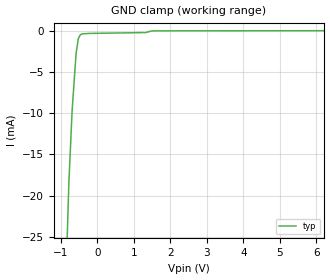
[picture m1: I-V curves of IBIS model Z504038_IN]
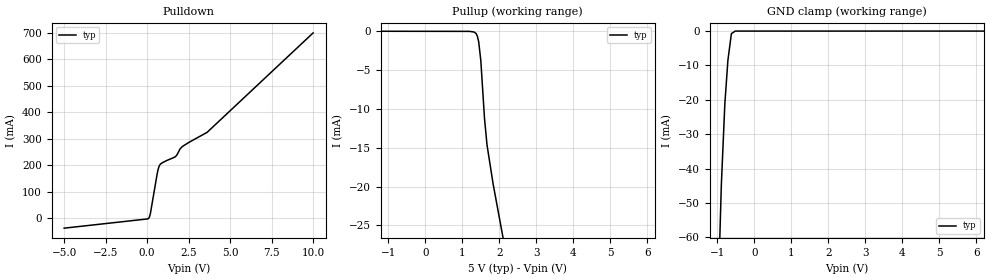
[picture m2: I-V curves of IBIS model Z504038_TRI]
| YOU ARE ONLY AUTHORIZED TO USE THIS SOFTWARE
| ACCORDING TO LICENSOR'S LICENSE RESTRICTIONS.
[IBIS Ver] 3.1
[File Name] mc74f823dw.ibs
[File Rev] 2.0
[Source] Measured and created by ICX Technology
[Date] Friday 7/14/00 9:08:05 AM
[Copyright]
| (C) COPYRIGHT 1993-2000
| MENTOR GRAPHICS CORPORATION
| ICX STANDARD LIBRARY, ICX PROJECT MODELING,
| ICX CUSTOM MODELING, ICX VENDOR MODEL
| ALL RIGHTS RESERVED.
| THE FOLLOWING ARE TRADEMARKS OR SERVICE MARKS OF
| MENTOR GRAPHICS CORPORATION:ICX (R), ICX STANDARD
| LIBRARY(R), ICX PROJECT MODELING(R), ICX CUSTOM
| MODELING(R), qualityIBIS(TM), MODELVIEWER(TM),
| AND MODELEDITOR(TM)
| ALL COPIES OF SOFTWARE, INCLUDING BUT NOT LIMITED TO
| ANY MODIFICATIONS, ENHANCEMENTS OR DERIVATIVE WORKS,
| MUST CONTAIN ALL MENTOR GRAPHICS CORPORATION'S
| NOTICES AND LEGENDS, INCLUDING THOSE EMBEDDED IN
| SOFTWARE AND THOSE AFFIXED TO SOFTWARE MEDIUM
| AND CONTAINER, AS RECEIVED FROM MENTOR GRAPHICS
| CORPORATION.
|  ZAP Model Builder 2.7
[Component] MC74F823DW
[Manufacturer] OnSemiconductor
[Package]
| variable   typ   min   max
R_pkg  .18ohms NA NA
L_pkg  4.67nH NA NA
C_pkg  .637pF NA NA
[Pin] signal_name  model_name  R_pin  L_pin C_pin
1 _EN Z504038_IN .19 5.862n .712p
2 D0 Z504038_IN .186 5.372n .682p
3 D1 Z504038_IN .182 4.892n .652p
4 D2 Z504038_IN .178 4.422n .622p
5 D3 Z504038_IN .174 3.962n .592p
6 D4 Z504038_IN .17 3.512n .562p
7 D5 Z504038_IN .17 3.512n .562p
8 D6 Z504038_IN .174 3.962n .592p
9 D7 Z504038_IN .178 4.422n .622p
10 D8 Z504038_IN .182 4.892n .652p
11 _CLR Z504038_IN .186 5.372n .682p
12 GND GND .19 5.862n .712p
13 CLK Z504038_IN .19 5.862n .712p
14 _CLKEN Z504038_IN .186 5.372n .682p
15 Q8 Z504038_TRI .182 4.892n .652p
16 Q7 Z504038_TRI .178 4.422n .622p
17 Q6 Z504038_TRI .174 3.962n .592p
18 Q5 Z504038_TRI .17 3.512n .562p
19 Q4 Z504038_TRI .17 3.512n .562p
20 Q3 Z504038_TRI .174 3.962n .592p
21 Q2 Z504038_TRI .178 4.422n .622p
22 Q1 Z504038_TRI .182 4.892n .652p
23 Q0 Z504038_TRI .186 5.372n .682p
24 VCC POWER .19 5.862n .712p
| Models and submodels in the file (2): Z504038_IN (Input), Z504038_TRI (3-state)
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| (C) COPYRIGHT 1993-2000
| MENTOR GRAPHICS CORPORATION
| ICX STANDARD LIBRARY, ICX PROJECT MODELING,
| ICX CUSTOM MODELING, ICX VENDOR MODEL
| ALL RIGHTS RESERVED.
| THE FOLLOWING ARE TRADEMARKS OR SERVICE MARKS OF
| MENTOR GRAPHICS CORPORATION:ICX (R), ICX STANDARD
| LIBRARY(R), ICX PROJECT MODELING(R), ICX CUSTOM
| MODELING(R), qualityIBIS(TM), MODELVIEWER(TM),
| AND MODELEDITOR(TM)
| ALL COPIES OF SOFTWARE, INCLUDING BUT NOT LIMITED TO
| ANY MODIFICATIONS, ENHANCEMENTS OR DERIVATIVE WORKS,
| MUST CONTAIN ALL MENTOR GRAPHICS CORPORATION'S
| NOTICES AND LEGENDS, INCLUDING THOSE EMBEDDED IN
| SOFTWARE AND THOSE AFFIXED TO SOFTWARE MEDIUM
| AND CONTAINER, AS RECEIVED FROM MENTOR GRAPHICS
| CORPORATION.
| Model Application Version 1.89 2/18/99.
[Model] Z504038_IN
Model_type Input
Vinl = 800.0mV
Vinh = 2.000V
C_comp 4.000pF NA NA
| variable typ   min   max
[Voltage Range] 5.000V NA NA
[GND Clamp Reference] 0.000V NA NA
[POWER Clamp Reference] 5.000V NA NA
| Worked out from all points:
|   GND clamp passes 1 mA (typ) near -0.52 V on its own axis
[GND Clamp]
-5V       -627.6mA   NA         NA
-781.1mV  -18.63mA   NA         NA
-690.8mV  -9.658mA   NA         NA
-581.1mV  -2.702mA   NA         NA
-521.9mV  -963uA     NA         NA
-462.5mV  -464.2uA   NA         NA
-405.2mV  -368.7uA   NA         NA
-202.6mV  -320.8uA   NA         NA
1.328V    -216.8uA   NA         NA
1.465V    -36.69uA   NA         NA
1.563V    -9.496uA   NA         NA
10V       24.15uA    NA         NA
[POWER Clamp]
-5V       0A         NA         NA
10V       0A         NA         NA
| (C) COPYRIGHT 1993-2000
| MENTOR GRAPHICS CORPORATION
| ICX STANDARD LIBRARY, ICX PROJECT MODELING,
| ICX CUSTOM MODELING, ICX VENDOR MODEL
| ALL RIGHTS RESERVED.
| THE FOLLOWING ARE TRADEMARKS OR SERVICE MARKS OF
| MENTOR GRAPHICS CORPORATION:ICX (R), ICX STANDARD
| LIBRARY(R), ICX PROJECT MODELING(R), ICX CUSTOM
| MODELING(R), qualityIBIS(TM), MODELVIEWER(TM),
| AND MODELEDITOR(TM)
| ALL COPIES OF SOFTWARE, INCLUDING BUT NOT LIMITED TO
| ANY MODIFICATIONS, ENHANCEMENTS OR DERIVATIVE WORKS,
| MUST CONTAIN ALL MENTOR GRAPHICS CORPORATION'S
| NOTICES AND LEGENDS, INCLUDING THOSE EMBEDDED IN
| SOFTWARE AND THOSE AFFIXED TO SOFTWARE MEDIUM
| AND CONTAINER, AS RECEIVED FROM MENTOR GRAPHICS
| CORPORATION.
| Model Application Version 1.89 2/18/99.
[Model] Z504038_TRI
Model_type 3-state
Vref=0.000V
Rref=500.0ohms
Cref=50.00pF
Vmeas=1.500V
C_comp 8.000pF NA NA
| variable typ   min   max
[Voltage Range] 5.000V NA NA
[POWER Clamp Reference] 5.000V NA NA
[Pullup Reference] 5.000V NA NA
[Pulldown Reference] 0.000V NA NA
[GND Clamp Reference] 0.000V NA NA
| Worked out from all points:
|   slope of the pulldown table from 0 to 0.75 V, typ, clamps not added: 3.7 ohm
|   GND clamp passes 1 mA (typ) near -0.62 V on its own axis
[GND Clamp]
-5V       -2.456A    NA         NA
-1.133V   -148.2mA   NA         NA
-1.016V   -91.3mA    NA         NA
-888.8mV  -44.49mA   NA         NA
-795.7mV  -21.25mA   NA         NA
-712.8mV  -8.535mA   NA         NA
-618.5mV  -759.7uA   NA         NA
-515.4mV  0A         NA         NA
10V       0A         NA         NA
[Pulldown]
-5V       -38.06mA   NA         NA
72.21mV   -2.215mA   NA         NA
129.3mV   2.631mA    NA         NA
193.4mV   16.32mA    NA         NA
605.7mV   167.8mA    NA         NA
664.9mV   184.8mA    NA         NA
730.1mV   197.6mA    NA         NA
805.7mV   204.4mA    NA         NA
1.712V    232.3mA    NA         NA
2.109V    269.8mA    NA         NA
3.612V    323.9mA    NA         NA
10V       699.7mA    NA         NA
[Pullup]
-5V       35.5uA     NA         NA
1.201V    -2.518uA   NA         NA
1.319V    -89.29uA   NA         NA
1.377V    -284.2uA   NA         NA
1.411V    -651.3uA   NA         NA
1.445V    -1.336mA   NA         NA
1.503V    -3.775mA   NA         NA
1.602V    -11.19mA   NA         NA
1.67V     -14.63mA   NA         NA
1.836V    -19.69mA   NA         NA
10V       -230.4mA   NA         NA
[POWER Clamp]
-5V       0A         NA         NA
10V       0A         NA         NA
[Ramp]
| variable typ min max
dV/dt_r 2.015/3.641n NA NA
dV/dt_f 2.015/1.000n NA NA
R_load = 500.0Ohms
